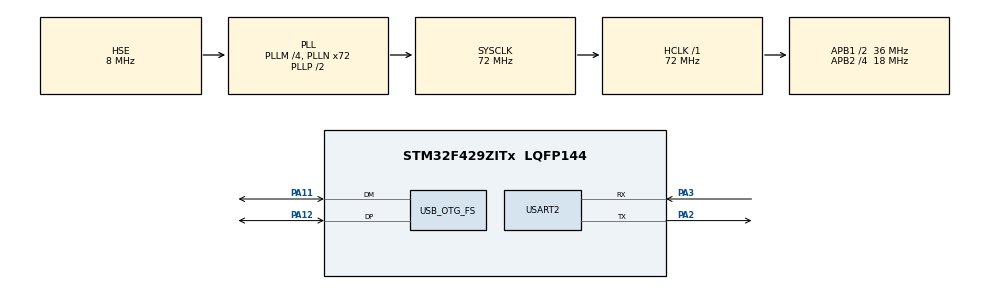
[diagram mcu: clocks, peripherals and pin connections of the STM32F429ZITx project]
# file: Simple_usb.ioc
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Mcu.Family=STM32F4
Mcu.Name=STM32F429ZITx
Mcu.Package=LQFP144
NVIC.OTG_FS_IRQn=true\:0\:0\:false\:false\:true\:false\:true\:true
NVIC.PriorityGroup=NVIC_PRIORITYGROUP_0
NVIC.TIM6_DAC_IRQn=true\:0\:0\:false\:false\:true\:false\:true\:true
NVIC.TimeBase=TIM6_DAC_IRQn
NVIC.TimeBaseIP=TIM6
PA11.Mode=Device_Only
PA11.Signal=USB_OTG_FS_DM
PA12.Mode=Device_Only
PA12.Signal=USB_OTG_FS_DP
PA2.Mode=Asynchronous
PA2.Signal=USART2_TX
PA3.Mode=Asynchronous
PA3.Signal=USART2_RX
PH0/OSC_IN.Mode=HSE-External-Oscillator
PH0/OSC_IN.Signal=RCC_OSC_IN
PH1/OSC_OUT.Mode=HSE-External-Oscillator
PH1/OSC_OUT.Signal=RCC_OSC_OUT
ProjectManager.HeapSize=0x200
ProjectManager.StackSize=0x400
ProjectManager.TargetToolchain=STM32CubeIDE
RCC.48MHZClocksFreq_Value=48000000
RCC.AHBFreq_Value=72000000
RCC.APB1CLKDivider=RCC_HCLK_DIV2
RCC.APB1Freq_Value=36000000
RCC.APB1TimFreq_Value=72000000
RCC.APB2CLKDivider=RCC_HCLK_DIV4
RCC.APB2Freq_Value=18000000
RCC.APB2TimFreq_Value=36000000
RCC.CortexFreq_Value=72000000
RCC.HCLKFreq_Value=72000000
RCC.HSE_VALUE=8000000
RCC.HSI_VALUE=16000000
RCC.LSE_VALUE=32768
RCC.PLLM=4
RCC.PLLN=72
RCC.PLLQ=3
RCC.SYSCLKFreq_VALUE=72000000
RCC.SYSCLKSource=RCC_SYSCLKSOURCE_PLLCLK
RCC.VCOOutputFreq_Value=144000000
USART2.VirtualMode=VM_ASYNC
USB_DEVICE.CLASS_NAME_FS=CDC
USB_DEVICE.VirtualMode-CDC_FS=Cdc
USB_DEVICE.VirtualModeFS=Cdc_FS
USB_OTG_FS.VirtualMode=Device_Only
VP_SYS_VS_tim6.Mode=TIM6
VP_USB_DEVICE_VS_USB_DEVICE_CDC_FS.Mode=CDC_FS
board=STM32F429I-DISC1

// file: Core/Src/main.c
/* USER CODE BEGIN Header */
/**
  ******************************************************************************
  * @file           : main.c
  * @brief          : Main program body
  ******************************************************************************
  * @attention
  *
  * Copyright (c) 2023 STMicroelectronics.
  * All rights reserved.
  *
  * This software is licensed under terms that can be found in the LICENSE file
  * in the root directory of this software component.
  * If no LICENSE file comes with this software, it is provided AS-IS.
  *
  ******************************************************************************
  */
/* USER CODE END Header */
#include "main.h"
#include "usb_device.h"

/* USER CODE BEGIN Includes */
#include <FreeRTOS.h>
#include <task.h>
#include <SEGGER_SYSVIEW.h>
#include <usbd_cdc_if.h>
/* USER CODE END Includes */

UART_HandleTypeDef huart2;

/* USER CODE BEGIN PV */

// some common variables to use for each task
// 128 * 4 = 512 bytes
//(recommended min stack size per task)
#define STACK_SIZE 128

void usbPrintOutTask( void* NotUsed);

/* USER CODE END PV */

void SystemClock_Config(void);
static void MX_GPIO_Init(void);
static void MX_USART2_UART_Init(void);

int main(void)
{

  /* MCU Configuration--------------------------------------------------------*/

  /* Reset of all peripherals, Initializes the Flash interface and the Systick. */
  HAL_Init();

  /* Configure the system clock */
  SystemClock_Config();

  /* Initialize all configured peripherals */
  MX_GPIO_Init();
  MX_USART2_UART_Init();
  MX_USB_DEVICE_Init();
  /* USER CODE BEGIN 2 */

  SEGGER_SYSVIEW_Conf();
  HAL_NVIC_SetPriorityGrouping(NVIC_PRIORITYGROUP_4);	//ensure proper priority grouping for freeRTOS

  //setup tasks, making sure they have been properly created before moving on
  assert_param(xTaskCreate(usbPrintOutTask, "usbprint", STACK_SIZE, NULL, tskIDLE_PRIORITY + 2, NULL) == pdPASS);

  //start the scheduler - shouldn't return unless there's a problem
  vTaskStartScheduler();

  /* USER CODE END 2 */

  /* Infinite loop */
  while (1)
  {

  }
}

void SystemClock_Config(void)
{
  RCC_OscInitTypeDef RCC_OscInitStruct = {0};
  RCC_ClkInitTypeDef RCC_ClkInitStruct = {0};

  /** Configure the main internal regulator output voltage
  */
  __HAL_RCC_PWR_CLK_ENABLE();
  __HAL_PWR_VOLTAGESCALING_CONFIG(PWR_REGULATOR_VOLTAGE_SCALE3);

  /** Initializes the RCC Oscillators according to the specified parameters
  * in the RCC_OscInitTypeDef structure.
  */
  RCC_OscInitStruct.OscillatorType = RCC_OSCILLATORTYPE_HSE;
  RCC_OscInitStruct.HSEState = RCC_HSE_ON;
  RCC_OscInitStruct.PLL.PLLState = RCC_PLL_ON;
  RCC_OscInitStruct.PLL.PLLSource = RCC_PLLSOURCE_HSE;
  RCC_OscInitStruct.PLL.PLLM = 4;
  RCC_OscInitStruct.PLL.PLLN = 72;
  RCC_OscInitStruct.PLL.PLLP = RCC_PLLP_DIV2;
  RCC_OscInitStruct.PLL.PLLQ = 3;
  if (HAL_RCC_OscConfig(&RCC_OscInitStruct) != HAL_OK)
  {
    Error_Handler();
  }

  /** Initializes the CPU, AHB and APB buses clocks
  */
  RCC_ClkInitStruct.ClockType = RCC_CLOCKTYPE_HCLK|RCC_CLOCKTYPE_SYSCLK
                              |RCC_CLOCKTYPE_PCLK1|RCC_CLOCKTYPE_PCLK2;
  RCC_ClkInitStruct.SYSCLKSource = RCC_SYSCLKSOURCE_PLLCLK;
  RCC_ClkInitStruct.AHBCLKDivider = RCC_SYSCLK_DIV1;
  RCC_ClkInitStruct.APB1CLKDivider = RCC_HCLK_DIV2;
  RCC_ClkInitStruct.APB2CLKDivider = RCC_HCLK_DIV4;

  if (HAL_RCC_ClockConfig(&RCC_ClkInitStruct, FLASH_LATENCY_2) != HAL_OK)
  {
    Error_Handler();
  }
}

static void MX_USART2_UART_Init(void)
{

  huart2.Instance = USART2;
  huart2.Init.BaudRate = 115200;
  huart2.Init.WordLength = UART_WORDLENGTH_8B;
  huart2.Init.StopBits = UART_STOPBITS_1;
  huart2.Init.Parity = UART_PARITY_NONE;
  huart2.Init.Mode = UART_MODE_TX_RX;
  huart2.Init.HwFlowCtl = UART_HWCONTROL_NONE;
  huart2.Init.OverSampling = UART_OVERSAMPLING_16;
  if (HAL_UART_Init(&huart2) != HAL_OK)
  {
    Error_Handler();
  }

}

static void MX_GPIO_Init(void)
{

  /* GPIO Ports Clock Enable */
  __HAL_RCC_GPIOH_CLK_ENABLE();
  __HAL_RCC_GPIOA_CLK_ENABLE();

}

/* USER CODE BEGIN 4 */

void usbPrintOutTask( void* NotUsed)
{
	while(1)
	{
		SEGGER_SYSVIEW_PrintfHost("print test over USB");
		CDC_Transmit_FS((uint8_t*)"test\n", 5);
		vTaskDelay(100);
		SEGGER_SYSVIEW_PrintfHost("print message over USB");
		CDC_Transmit_FS((uint8_t*)"message\n", 8);
		vTaskDelay(100);
	}
}

/* USER CODE END 4 */

void HAL_TIM_PeriodElapsedCallback(TIM_HandleTypeDef *htim)
{
  if (htim->Instance == TIM6) {
    HAL_IncTick();
  }
}

void Error_Handler(void)
{
  __disable_irq();
  while (1)
  {
  }
}
